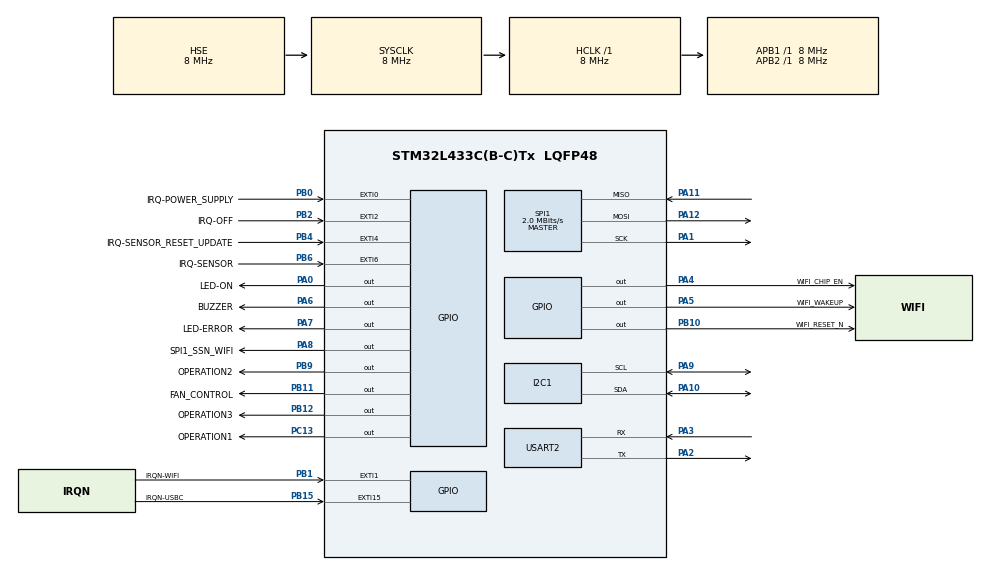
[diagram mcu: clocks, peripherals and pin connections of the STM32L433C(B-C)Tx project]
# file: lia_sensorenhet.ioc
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I2C1.Timing=0x2000090E
Mcu.Family=STM32L4
Mcu.Name=STM32L433C(B-C)Tx
Mcu.Package=LQFP48
NVIC.EXTI0_IRQn=true\:0\:0\:false\:false\:true\:true\:true\:true
NVIC.EXTI15_10_IRQn=true\:0\:0\:false\:false\:true\:true\:true\:true
NVIC.EXTI1_IRQn=true\:0\:0\:false\:false\:true\:true\:true\:true
NVIC.EXTI2_IRQn=true\:0\:0\:false\:false\:true\:true\:true\:true
NVIC.EXTI4_IRQn=true\:0\:0\:false\:false\:true\:true\:true\:true
NVIC.EXTI9_5_IRQn=true\:0\:0\:false\:false\:true\:true\:true\:true
NVIC.PriorityGroup=NVIC_PRIORITYGROUP_4
NVIC.RTC_Alarm_IRQn=true\:0\:0\:false\:false\:true\:true\:true\:true
NVIC.TIM2_IRQn=true\:0\:0\:false\:false\:true\:true\:true\:true
NVIC.USART2_IRQn=true\:0\:0\:false\:false\:true\:true\:true\:true
PA0.GPIO_Label=LED-ON
PA0.Signal=GPIO_Output
PA1.Mode=Full_Duplex_Master
PA1.Signal=SPI1_SCK
PA10.Mode=I2C
PA10.Signal=I2C1_SDA
PA11.Mode=Full_Duplex_Master
PA11.Signal=SPI1_MISO
PA12.Mode=Full_Duplex_Master
PA12.Signal=SPI1_MOSI
PA13\ (JTMS-SWDIO).GPIO_Label=TMS
PA13\ (JTMS-SWDIO).Mode=Serial_Wire
PA13\ (JTMS-SWDIO).Signal=SYS_JTMS-SWDIO
PA14\ (JTCK-SWCLK).GPIO_Label=TCK
PA14\ (JTCK-SWCLK).Mode=Serial_Wire
PA14\ (JTCK-SWCLK).Signal=SYS_JTCK-SWCLK
PA2.Mode=Asynchronous
PA2.Signal=USART2_TX
PA3.Mode=Asynchronous
PA3.Signal=USART2_RX
PA4.GPIO_Label=WIFI_CHIP_EN
PA4.GPIO_PuPd=GPIO_PULLDOWN
PA4.Signal=GPIO_Output
PA5.GPIO_Label=WIFI_WAKEUP
PA5.GPIO_PuPd=GPIO_PULLDOWN
PA5.Signal=GPIO_Output
PA6.GPIO_Label=BUZZER
PA6.Signal=GPIO_Output
PA7.GPIO_Label=LED-ERROR
PA7.Signal=GPIO_Output
PA8.GPIO_Label=SPI1_SSN_WIFI
PA8.PinState=GPIO_PIN_SET
PA8.Signal=GPIO_Output
PA9.Mode=I2C
PA9.Signal=I2C1_SCL
PB0.GPIO_Label=IRQ-POWER_SUPPLY
PB0.GPIO_ModeDefaultEXTI=GPIO_MODE_IT_RISING_FALLING
PB0.GPIO_PuPd=GPIO_NOPULL
PB0.Signal=GPXTI0
PB1.GPIO_Label=IRQN-WIFI
PB1.GPIO_ModeDefaultEXTI=GPIO_MODE_IT_FALLING
PB1.GPIO_PuPd=GPIO_PULLUP
PB1.Signal=GPXTI1
PB10.GPIO_Label=WIFI_RESET_N
PB10.GPIO_PuPd=GPIO_PULLDOWN
PB10.Signal=GPIO_Output
PB11.GPIO_Label=FAN_CONTROL
PB11.Signal=GPIO_Output
PB12.GPIO_Label=OPERATION3
PB12.Signal=GPIO_Output
PB15.GPIO_Label=IRQN-USBC
PB15.Signal=GPXTI15
PB2.GPIO_Label=IRQ-OFF
PB2.GPIO_ModeDefaultEXTI=GPIO_MODE_IT_RISING_FALLING
PB2.GPIO_PuPd=GPIO_NOPULL
PB2.Signal=GPXTI2
PB3\ (JTDO-TRACESWO).Signal=SYS_JTDO-SWO
PB4\ (NJTRST).GPIO_Label=IRQ-SENSOR_RESET_UPDATE
PB4\ (NJTRST).GPIO_PuPd=GPIO_PULLDOWN
PB4\ (NJTRST).Signal=GPXTI4
PB6.GPIO_Label=IRQ-SENSOR
PB6.GPIO_PuPd=GPIO_PULLDOWN
PB6.Signal=GPXTI6
PB9.GPIO_Label=OPERATION2
PB9.Signal=GPIO_Output
PC13.GPIO_Label=OPERATION1
PC13.Signal=GPIO_Output
PC14-OSC32_IN\ (PC14).Mode=LSE-External-Oscillator
PC14-OSC32_IN\ (PC14).Signal=RCC_OSC32_IN
PC15-OSC32_OUT\ (PC15).Mode=LSE-External-Oscillator
PC15-OSC32_OUT\ (PC15).Signal=RCC_OSC32_OUT
PH0-OSC_IN\ (PH0).Mode=HSE-External-Oscillator
PH0-OSC_IN\ (PH0).Signal=RCC_OSC_IN
PH1-OSC_OUT\ (PH1).Mode=HSE-External-Oscillator
PH1-OSC_OUT\ (PH1).Signal=RCC_OSC_OUT
ProjectManager.HeapSize=0x200
ProjectManager.StackSize=0x400
ProjectManager.TargetToolchain=Makefile
RCC.ADCFreq_Value=32000000
RCC.AHBFreq_Value=8000000
RCC.APB1Freq_Value=8000000
RCC.APB1TimFreq_Value=8000000
RCC.APB2Freq_Value=8000000
RCC.APB2TimFreq_Value=8000000
RCC.CortexFreq_Value=8000000
RCC.HCLKFreq_Value=8000000
RCC.HSE_VALUE=8000000
RCC.HSI48_VALUE=48000000
RCC.HSI_VALUE=16000000
RCC.MSI_VALUE=4000000
RCC.PLLSourceVirtual=RCC_PLLSOURCE_HSE
RCC.RTCClockSelection=RCC_RTCCLKSOURCE_LSE
RCC.SYSCLKFreq_VALUE=8000000
RCC.SYSCLKSource=RCC_SYSCLKSOURCE_HSE
RCC.USBFreq_Value=32000000
RCC.VCOOutputFreq_Value=64000000
RTC.Alarm-Alarm\ A=RTC_ALARM_A
RTC.AlarmMaskDateWeekDay-Alarm\ A=RTC_ALARMMASK_DATEWEEKDAY
RTC.AlarmMaskHours-Alarm\ A=RTC_ALARMMASK_HOURS
RTC.AlarmMaskMinutes-Alarm\ A=RTC_ALARMMASK_MINUTES
RTC.Date=29
RTC.Hours=13
RTC.Hours_A-Alarm\ A=0
RTC.Minutes=59
RTC.Minutes_A-Alarm\ A=0
RTC.Month=RTC_MONTH_NOVEMBER
RTC.Seconds=54
RTC.Seconds_A-Alarm\ A=5
RTC.WeekDay=RTC_WEEKDAY_TUESDAY
RTC.Year=22
SPI1.BaudRatePrescaler=SPI_BAUDRATEPRESCALER_4
SPI1.CalculateBaudRate=2.0 MBits/s
SPI1.DataSize=SPI_DATASIZE_8BIT
SPI1.Direction=SPI_DIRECTION_2LINES
SPI1.Mode=SPI_MODE_MASTER
SPI1.NSSPMode=SPI_NSS_PULSE_DISABLE
SPI1.VirtualType=VM_MASTER
TIM2.Period=750
TIM2.Prescaler=8000
USART2.VirtualMode-Asynchronous=VM_ASYNC
VP_RTC_VS_RTC_Activate.Mode=RTC_Enabled
VP_RTC_VS_RTC_Alarm_A_Intern.Mode=Alarm A
VP_RTC_VS_RTC_Calendar.Mode=RTC_Calendar
VP_TIM2_VS_ClockSourceINT.Mode=Internal
board=custom

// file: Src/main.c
/* USER CODE BEGIN Header */
/**
 ******************************************************************************
 * @file           : main.c
 * @brief          : Main program body
 ******************************************************************************
 * @attention
 *
 * Copyright (c) 2022 STMicroelectronics.
 * All rights reserved.
 *
 * This software is licensed under terms that can be found in the LICENSE file
 * in the root directory of this software component.
 * If no LICENSE file comes with this software, it is provided AS-IS.
 *
 ******************************************************************************
 */
/* USER CODE END Header */
#include "main.h"
#include "i2c.h"
#include "rtc.h"
#include "spi.h"
#include "tim.h"
#include "usart.h"
#include "gpio.h"

/* USER CODE BEGIN Includes */
#include "driver/include/m2m_wifi.h"
#include "socket/include/socket.h"
#include "winc_callbacks.h"
#include "winc.h"
#include "power.h"
#include "sht40.h"
#include "eeprom.h"
#include "measure.h"
/* USER CODE END Includes */

/* USER CODE BEGIN PV */
uEEPROM eeprom;
uint8_t measureNow;
/* USER CODE END PV */

void SystemClock_Config(void);

int main(void)
{

  /* MCU Configuration--------------------------------------------------------*/

  /* Reset of all peripherals, Initializes the Flash interface and the Systick. */
  HAL_Init();

  /* Configure the system clock */
  SystemClock_Config();

  /* Initialize all configured peripherals */
  MX_GPIO_Init();
  MX_I2C1_Init();
  MX_SPI1_Init();
  MX_USART2_UART_Init();
  EEPROM_load(&eeprom);
  eeprom.divided.interval_measurementS = 5; //temporary
  MX_RTC_Init();
  MX_TIM2_Init();
  /* USER CODE BEGIN 2 */
  HAL_GPIO_WritePin(LED_ON_GPIO_Port, LED_ON_Pin, GPIO_PIN_SET);
  printf("----->test\r\n");

  HAL_RTC_DeactivateAlarm(&hrtc, RTC_ALARM_A);
  /* WIFI */
  /* ugly fix for not getting stuck in infinite loop : wait_for_bootrom() - nmasic.c:410 */

  nm_read_reg(0x1024);
  winc_init();
  print_mac();

  struct sockaddr_in addr;
  socket_init(&addr);
  uint8_t rxBuff[12];

  HAL_UART_Receive_IT(&huart2, rxBuff, 1);
  /* USER CODE END 2 */

  /* Infinite loop */
  /* USER CODE BEGIN WHILE */

  // eeprom = new_EEPROM();

  psu_init();

  strncpy(eeprom.divided.wlan_SSID, MAIN_WLAN_SSID, sizeof(eeprom.divided.wlan_SSID));
  strncpy(eeprom.divided.wlan_password, MAIN_WLAN_PASS, sizeof(eeprom.divided.wlan_password));

  EEPROM_print(&eeprom);

  /*
  strncpy(eeprom.divided.server_url, "www.kungariket.se\0", sizeof(eeprom.divided.server_url));
  eeprom.divided.server_port = 555;
  eeprom.divided.utcH = 1;
  eeprom.divided.SHT40_tempEnabled = 1;
  eeprom.divided.SHT40_humidityEnabled = 1;
  eeprom.divided.SHT40_heaterMode = 0;
  eeprom.divided.interval_measurementS = 60;
  eeprom.divided.interval_measurementBatS = 120;
  eeprom.divided.interval_sendS = 180;
  eeprom.divided.interval_sendBatS = 240;
  */
  // EEPROM_save(&eeprom);

  while (1)
  {

    /* Handle the app state machine plus the WINC event handler */

    while (m2m_wifi_handle_events(NULL) != M2M_SUCCESS)
    {
    }

    if (gconnected == CONNECTED)
    {
      connect_to_server(&addr);
    }
    else if (gconnected == NOT_CONNECTED)
    {
      connect_to_ap();
    }

    if(measureNow == 1)
    {
      measure();
    }

    HAL_Delay(20); /* prevent 100% cpu usage */

    /* USER CODE END WHILE */

  }
}

void SystemClock_Config(void)
{
  RCC_OscInitTypeDef RCC_OscInitStruct = {0};
  RCC_ClkInitTypeDef RCC_ClkInitStruct = {0};

  /** Configure the main internal regulator output voltage
   */
  if (HAL_PWREx_ControlVoltageScaling(PWR_REGULATOR_VOLTAGE_SCALE1) != HAL_OK)
  {
    Error_Handler();
  }

  /** Configure LSE Drive Capability
   */
  HAL_PWR_EnableBkUpAccess();
  __HAL_RCC_LSEDRIVE_CONFIG(RCC_LSEDRIVE_LOW);

  /** Initializes the RCC Oscillators according to the specified parameters
   * in the RCC_OscInitTypeDef structure.
   */
  RCC_OscInitStruct.OscillatorType = RCC_OSCILLATORTYPE_HSE | RCC_OSCILLATORTYPE_LSE;
  RCC_OscInitStruct.HSEState = RCC_HSE_ON;
  RCC_OscInitStruct.LSEState = RCC_LSE_ON;
  RCC_OscInitStruct.PLL.PLLState = RCC_PLL_NONE;
  if (HAL_RCC_OscConfig(&RCC_OscInitStruct) != HAL_OK)
  {
    Error_Handler();
  }

  /** Initializes the CPU, AHB and APB buses clocks
   */
  RCC_ClkInitStruct.ClockType = RCC_CLOCKTYPE_HCLK | RCC_CLOCKTYPE_SYSCLK | RCC_CLOCKTYPE_PCLK1 | RCC_CLOCKTYPE_PCLK2;
  RCC_ClkInitStruct.SYSCLKSource = RCC_SYSCLKSOURCE_HSE;
  RCC_ClkInitStruct.AHBCLKDivider = RCC_SYSCLK_DIV1;
  RCC_ClkInitStruct.APB1CLKDivider = RCC_HCLK_DIV1;
  RCC_ClkInitStruct.APB2CLKDivider = RCC_HCLK_DIV1;

  if (HAL_RCC_ClockConfig(&RCC_ClkInitStruct, FLASH_LATENCY_0) != HAL_OK)
  {
    Error_Handler();
  }
}

/* USER CODE BEGIN 4 */
PUTCHAR_PROTOTYPE
{
  /* Place your implementation of fputc here */
  /* e.g. write a character to the USART3 and Loop until the end of transmission */
  HAL_UART_Transmit(&huart2, (uint8_t *)&ch, 1, 0xFFFF);

  return ch;
}
/* USER CODE END 4 */

void Error_Handler(void)
{
  __disable_irq();
  while (1)
  {
  }
}
